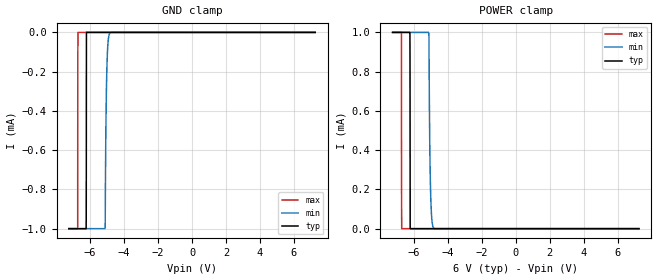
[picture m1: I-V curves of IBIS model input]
| Texas Instruments Incorporated
| ESD122 2-Channel ESD Protection Diode for USB Type-C and HDMI 2.0
| Marketing part#   Digital Voltage Range   Package-type   #pins
| ESD122DMX   5.1V-6.7V   X1SON   3
| ESD122DMY   5.1V-6.7V   X1SON   3
| ESD122DRL   5.1V-6.7V   SOT   3
[IBIS Ver]   4.1
[File name]   esd122.ibs
[Date]   05/12/2017
[File Rev]   1.0
[Source]
| Texas Instruments Incorporated.
| Analog-eLab Design Center, HPA
| 12500 TI Blvd
| Dallas, TX -75243
[Notes]   Revision History:
| Rev 1.0: 05/12/2017
| - Initial version of the model
| - Model generated from the given data points.
[Disclaimer]
| This model is designed as an aid for customers of Texas Instruments.
| TI and its licensors and suppliers make no warranties, either expressed
| or implied, with respect to this  model, including the warranties of
| merchantability or fitness for a particular purpose. The model is
| provided solely on an "as is" basis. The entire risk as to its quality
| and performance is with the customer.
[Copyright]
(C) Copyright 2017 Texas Instruments Incorporated.All rights reserved.
|   ESD122DMX
[Component]   ESD122DMX
[Manufacturer]  TI
[Package]   |3 X1SON - DMX package
|   typ   min   max
R_pkg   0.005   0.005   0.005
L_pkg   0.20nH   0.2nH   0.2nH
C_pkg   0.6pF   0.6pF   0.6pF
[Pin] signal_name model_name   R_pin   L_pin   C_pin
1   IO1   input   NA   NA   NA
2   GND   gnd   NA   NA   NA
3   IO2   input   NA   NA   NA
|   ESD122DMY
[Component]   ESD122DMY
[Manufacturer]  TI
[Package]   |3 X1SON - DMY package
|   typ   min   max
R_pkg   0.005   0.005   0.005
L_pkg   0.20nH   0.2nH   0.2nH
C_pkg   0.6pF   0.6pF   0.6pF
[Pin] signal_name model_name   R_pin   L_pin   C_pin
1   IO1   input   NA   NA   NA
2   GND   gnd   NA   NA   NA
3   IO2   input   NA   NA   NA
|   ESD122DRL
[Component]   ESD122DRL
[Manufacturer]  TI
[Package]   |3 SOT - DRL package
|   typ   min   max
R_pkg   0.005   0.005   0.005
L_pkg   0.20nH   0.2nH   0.2nH
C_pkg   0.6pF   0.6pF   0.6pF
[Pin] signal_name model_name   R_pin   L_pin   C_pin
1   IO1   input   NA   NA   NA
2   GND   gnd   NA   NA   NA
3   IO2   input   NA   NA   NA
| Models and submodels in the file (1): input (Input)
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|   input Model
[Model]   input
Model_type   Input
Vinl = 1.8
Vinh = 4.2
|   typ   min   max
C_comp   220fF   154fF   286fF
[Model spec]
|subparameter
Vinl   1.8   1.53   2.01
Vinh   4.2   3.57   4.69
|   Where Nom  PVT is Nominal Process, 6V, 25C
|   Fast PVT is Strong Process,   6.7V, -40C
|   Slow PVT is Weak Process,   5.1V, 125C
[Voltage Range]   6   5.1   6.7
[Temperature Range]   25   125   -40
[Power Clamp Reference]   6   5.1   6.7
[GND Clamp Reference]   0   0   0
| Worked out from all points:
|   GND clamp passes 1 mA (typ) near -6.23 V on its own axis
|   POWER clamp passes 1 mA (typ) near -6.23 V on its own axis
[GND Clamp]
|   Voltage   I(typ)   I(min)   I(max)
-7.25V    -1mA       -1mA       -1mA
-6.73V    -1mA       -1mA       -1mA
-6.725V   -1mA       -1mA       -284uA
-6.715V   -1mA       -1mA       0A
-6.23V    -1mA       -1mA       0A
-6.225V   -861uA     -1mA       0A
-6.215V   0A         -1mA       0A
-5.115V   0A         -995uA     0A
-5.07V    0A         -496uA     0A
-5.015V   0A         -194uA     0A
-4.815V   0A         -1.83uA    0A
7.25V     0A         0A         0A
[POWER Clamp]
|   Voltage   I(typ)   I(min)   I(max)
-7.25V    1mA        1mA        1mA
-6.73V    1mA        1mA        1mA
-6.725V   1mA        1mA        284uA
-6.715V   1mA        1mA        0A
-6.23V    1mA        1mA        0A
-6.225V   861uA      1mA        0A
-6.215V   0A         1mA        0A
-5.115V   0A         995uA      0A
-5.07V    0A         496uA      0A
-5.015V   0A         194uA      0A
-4.815V   0A         1.83uA     0A
7.25V     0A         0A         0A
